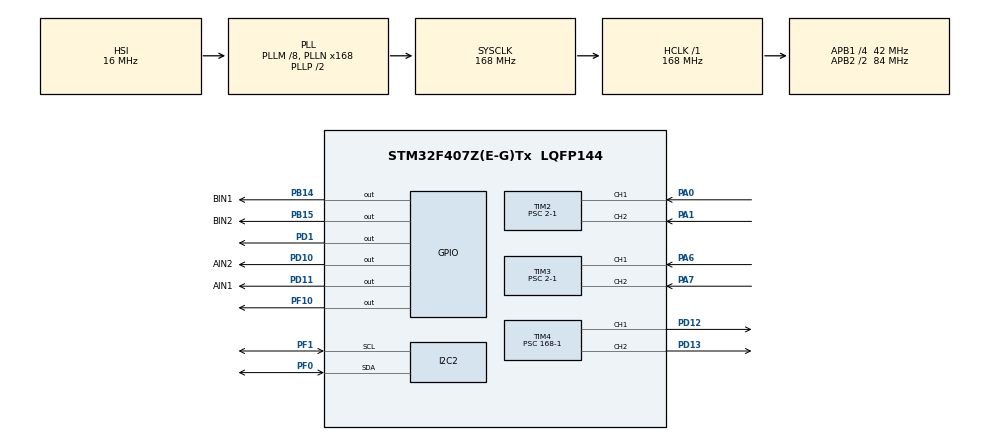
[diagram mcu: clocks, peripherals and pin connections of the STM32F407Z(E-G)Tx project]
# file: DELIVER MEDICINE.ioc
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I2C2.I2C_Mode=I2C_Fast
Mcu.Family=STM32F4
Mcu.Name=STM32F407Z(E-G)Tx
Mcu.Package=LQFP144
NVIC.I2C2_ER_IRQn=true\:0\:0\:false\:false\:true\:true\:true\:true
NVIC.I2C2_EV_IRQn=true\:0\:0\:false\:false\:true\:true\:true\:true
NVIC.PriorityGroup=NVIC_PRIORITYGROUP_4
NVIC.TIM2_IRQn=true\:0\:0\:false\:false\:true\:true\:true\:true
NVIC.TIM3_IRQn=true\:0\:0\:false\:false\:true\:true\:true\:true
NVIC.TIM4_IRQn=true\:0\:0\:false\:false\:true\:true\:true\:true
PA0-WKUP.Signal=S_TIM2_CH1_ETR
PA1.Signal=S_TIM2_CH2
PA13.Mode=Serial_Wire
PA13.Signal=SYS_JTMS-SWDIO
PA14.Mode=Serial_Wire
PA14.Signal=SYS_JTCK-SWCLK
PA6.Signal=S_TIM3_CH1
PA7.Signal=S_TIM3_CH2
PB14.GPIO_Label=BIN1
PB14.Signal=GPIO_Output
PB15.GPIO_Label=BIN2
PB15.Signal=GPIO_Output
PD1.GPIO_PuPd=GPIO_NOPULL
PD1.GPIO_Speed=GPIO_SPEED_FREQ_MEDIUM
PD1.PinState=GPIO_PIN_RESET
PD1.Signal=GPIO_Output
PD10.GPIO_Label=AIN2
PD10.Signal=GPIO_Output
PD11.GPIO_Label=AIN1
PD11.Signal=GPIO_Output
PD12.Signal=S_TIM4_CH1
PD13.Signal=S_TIM4_CH2
PF0.Mode=I2C
PF0.Signal=I2C2_SDA
PF1.Mode=I2C
PF1.Signal=I2C2_SCL
PF10.Signal=GPIO_Output
PH0-OSC_IN.Mode=HSE-External-Oscillator
PH0-OSC_IN.Signal=RCC_OSC_IN
PH1-OSC_OUT.Mode=HSE-External-Oscillator
PH1-OSC_OUT.Signal=RCC_OSC_OUT
ProjectManager.HeapSize=0x200
ProjectManager.StackSize=0x400
ProjectManager.TargetToolchain=MDK-ARM V5
RCC.48MHZClocksFreq_Value=84000000
RCC.AHBFreq_Value=168000000
RCC.APB1CLKDivider=RCC_HCLK_DIV4
RCC.APB1Freq_Value=42000000
RCC.APB1TimFreq_Value=84000000
RCC.APB2CLKDivider=RCC_HCLK_DIV2
RCC.APB2Freq_Value=84000000
RCC.APB2TimFreq_Value=168000000
RCC.CortexFreq_Value=168000000
RCC.HCLKFreq_Value=168000000
RCC.HSE_VALUE=25000000
RCC.HSI_VALUE=16000000
RCC.LSE_VALUE=32768
RCC.PLLM=8
RCC.PLLN=168
RCC.SYSCLKFreq_VALUE=168000000
RCC.SYSCLKSource=RCC_SYSCLKSOURCE_PLLCLK
RCC.VCOOutputFreq_Value=336000000
SH.S_TIM2_CH1_ETR.0=TIM2_CH1,Encoder_Interface
SH.S_TIM2_CH2.0=TIM2_CH2,Encoder_Interface
SH.S_TIM3_CH1.0=TIM3_CH1,Encoder_Interface
SH.S_TIM3_CH2.0=TIM3_CH2,Encoder_Interface
SH.S_TIM4_CH1.0=TIM4_CH1,PWM Generation1 CH1
SH.S_TIM4_CH2.0=TIM4_CH2,PWM Generation2 CH2
TIM2.EncoderMode=TIM_ENCODERMODE_TI1
TIM2.IC1Filter=15
TIM2.IC2Filter=0
TIM2.Prescaler=2-1
TIM3.EncoderMode=TIM_ENCODERMODE_TI1
TIM3.IC1Filter=15
TIM3.IC2Filter=0
TIM3.Prescaler=2-1
TIM4.Channel-PWM\ Generation1\ CH1=TIM_CHANNEL_1
TIM4.Channel-PWM\ Generation2\ CH2=TIM_CHANNEL_2
TIM4.OCFastMode_PWM-PWM\ Generation1\ CH1=TIM_OCFAST_ENABLE
TIM4.Period=5000-1
TIM4.Prescaler=168-1
TIM5.Prescaler=168-1
VP_TIM4_VS_ClockSourceINT.Mode=Internal
VP_TIM5_VS_ClockSourceINT.Mode=Internal
board=custom

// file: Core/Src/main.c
/* USER CODE BEGIN Header */
/**
  ******************************************************************************
  * @file           : main.c
  * @brief          : Main program body
  ******************************************************************************
  * @attention
  *
  * Copyright (c) 2025 STMicroelectronics.
  * All rights reserved.
  *
  * This software is licensed under terms that can be found in the LICENSE file
  * in the root directory of this software component.
  * If no LICENSE file comes with this software, it is provided AS-IS.
  *
  ******************************************************************************
  */
/* USER CODE END Header */
#include "main.h"
#include "i2c.h"
#include "tim.h"
#include "gpio.h"

/* USER CODE BEGIN Includes */
#include "motor.h"
int VL, VR;                      // 左右轮速度
int counter;                     // 计数器
volatile int EL0=0, EL1=0;      // 左编码器值
volatile int ER0=0, ER1=0;      // 右编码器值
volatile int NL=0, NR=0;        // 编码器增量
float targetspeed=70, error;     // 目标速度和误差
int flag=0;                // 控制标志
int time=0;                // 时间计数器
/*********************** PID控制器结构体 ***********************/
typedef struct {
    float Kp;            // 比例系数
    float Ki;            // 积分系数
    float Kd;           // 微分系数
    float integral;      // 积分项
    float prev_error;    // 上次误差
    float output;        // 输出值
    float max_output;    // 最大输出
    float min_output;    // 最小输出
} PID_Controller;

PID_Controller pidL, pidR;  // 左右轮PID控制器
/* USER CODE END Includes */

/* USER CODE BEGIN PTD */
void PID_Init(PID_Controller* pid, float Kp, float Ki, float Kd, float min_out, float max_out) {
    pid->Kp = Kp;
    pid->Ki = Ki;
    pid->Kd = Kd;
    pid->integral = 0;
    pid->prev_error = 0;
    pid->output = 0;
    pid->min_output = min_out;
    pid->max_output = max_out;
}

void PID_Update(PID_Controller* pid, float error) {
    // 更新积分项
    pid->integral += error;

    // 计算微分项
    float derivative = error - pid->prev_error;

    // 计算PID输出
    pid->output = pid->Kp * error +
                 pid->Ki * pid->integral +
                 pid->Kd * derivative;

    // 输出限幅
    if(pid->output > pid->max_output) pid->output = pid->max_output;
    if(pid->output < pid->min_output) pid->output = pid->min_output;

    // 保存当前误差
    pid->prev_error = error;
}
float speed(int num) {
    float v;
    v = num * 16.2;

    if(num > 600) {
        v = 0;
    }
    return v;
}

void HAL_TIM_PeriodElapsedCallback(TIM_HandleTypeDef *htim)
{
	if(htim==(&htim5))
	{

		EL1=__HAL_TIM_GET_COUNTER(&htim3);
		NL=EL1-EL0;
		if(EL1<EL0)
			NL=EL1+65535-EL0;
		EL0=EL1;
		VL=speed(NL);
    error=targetspeed-VL;
    if (flag == 1)
    {
    time = time + 1;
    PID_Update(&pidL, error);
    }

		ER1=__HAL_TIM_GET_COUNTER(&htim2);
		NR=ER1-ER0;
		if(ER1<ER0)
			NR=ER1+65535-ER0;
		ER0=ER1;
    VR=speed(NR);
    error=targetspeed-VR;
    if (flag==1)
    {
    PID_Update(&pidR,error);
    }
	}
}
/* USER CODE END PTD */

void SystemClock_Config(void);

int main(void)
{

  /* MCU Configuration--------------------------------------------------------*/

  /* Reset of all peripherals, Initializes the Flash interface and the Systick. */
  HAL_Init();

  /* Configure the system clock */
  SystemClock_Config();

  /* Initialize all configured peripherals */
  MX_GPIO_Init();
  MX_I2C2_Init();
  MX_TIM2_Init();
  MX_TIM3_Init();
  MX_TIM4_Init();
  MX_TIM5_Init();
  /* USER CODE BEGIN 2 */
 HAL_TIM_Base_Start_IT(&htim4);

 HAL_TIM_PWM_Start(&htim4, TIM_CHANNEL_1);

 HAL_TIM_PWM_Start(&htim4, TIM_CHANNEL_2);
 HAL_TIM_Encoder_Start(&htim2, TIM_CHANNEL_ALL);
 HAL_TIM_Encoder_Start(&htim3, TIM_CHANNEL_ALL);

 HAL_TIM_Base_Start_IT(&htim5);

  /* USER CODE END 2 */

  /* Infinite loop */
  while (1)
  {

    /* USER CODE BEGIN 3 */
    HAL_GPIO_WritePin(GPIOF, GPIO_PIN_10, GPIO_PIN_SET);
    HAL_Delay(500);
    HAL_GPIO_WritePin(GPIOF, GPIO_PIN_10, GPIO_PIN_RESET);
    HAL_Delay(500);
  }
  /* USER CODE END 3 */
}

void SystemClock_Config(void)
{
  RCC_OscInitTypeDef RCC_OscInitStruct = {0};
  RCC_ClkInitTypeDef RCC_ClkInitStruct = {0};

  /** Configure the main internal regulator output voltage
  */
  __HAL_RCC_PWR_CLK_ENABLE();
  __HAL_PWR_VOLTAGESCALING_CONFIG(PWR_REGULATOR_VOLTAGE_SCALE1);

  /** Initializes the RCC Oscillators according to the specified parameters
  * in the RCC_OscInitTypeDef structure.
  */
  RCC_OscInitStruct.OscillatorType = RCC_OSCILLATORTYPE_HSI;
  RCC_OscInitStruct.HSIState = RCC_HSI_ON;
  RCC_OscInitStruct.HSICalibrationValue = RCC_HSICALIBRATION_DEFAULT;
  RCC_OscInitStruct.PLL.PLLState = RCC_PLL_ON;
  RCC_OscInitStruct.PLL.PLLSource = RCC_PLLSOURCE_HSI;
  RCC_OscInitStruct.PLL.PLLM = 8;
  RCC_OscInitStruct.PLL.PLLN = 168;
  RCC_OscInitStruct.PLL.PLLP = RCC_PLLP_DIV2;
  RCC_OscInitStruct.PLL.PLLQ = 4;
  if (HAL_RCC_OscConfig(&RCC_OscInitStruct) != HAL_OK)
  {
    Error_Handler();
  }

  /** Initializes the CPU, AHB and APB buses clocks
  */
  RCC_ClkInitStruct.ClockType = RCC_CLOCKTYPE_HCLK|RCC_CLOCKTYPE_SYSCLK
                              |RCC_CLOCKTYPE_PCLK1|RCC_CLOCKTYPE_PCLK2;
  RCC_ClkInitStruct.SYSCLKSource = RCC_SYSCLKSOURCE_PLLCLK;
  RCC_ClkInitStruct.AHBCLKDivider = RCC_SYSCLK_DIV1;
  RCC_ClkInitStruct.APB1CLKDivider = RCC_HCLK_DIV4;
  RCC_ClkInitStruct.APB2CLKDivider = RCC_HCLK_DIV2;

  if (HAL_RCC_ClockConfig(&RCC_ClkInitStruct, FLASH_LATENCY_5) != HAL_OK)
  {
    Error_Handler();
  }
}

void Error_Handler(void)
{
  __disable_irq();
  while (1)
  {
  }
}
